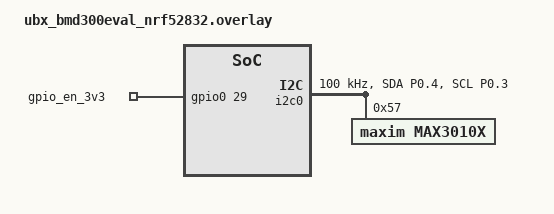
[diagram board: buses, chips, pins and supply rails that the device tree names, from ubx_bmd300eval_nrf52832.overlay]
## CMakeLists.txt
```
cmake_minimum_required(VERSION 3.20.0)

set(CMAKE_CXX_STANDARD 17)
set(CMAKE_CXX_STANDARD_REQUIRED ON)

set(CONFIG_LIB_CPLUSPLUS ON)
set(CONFIG_NEWLIB_LIBC ON)

find_package(Zephyr REQUIRED HINTS $ENV{ZEPHYR_BASE})
project(tegsense)

add_subdirectory(drivers/sensor/max3010x)

file(GLOB_RECURSE SRCS_CPP ${CMAKE_SOURCE_DIR}/src/*.cpp)
file(GLOB_RECURSE SRCS_C ${CMAKE_SOURCE_DIR}/src/*.c)
target_sources(app PRIVATE ${SRCS_CPP} ${SRCS_C})
target_include_directories(app PRIVATE
    ${CMAKE_SOURCE_DIR}/src
    ${CMAKE_SOURCE_DIR}/drivers/sensor/max3010x)

zephyr_library_include_directories(.)
```

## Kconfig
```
mainmenu "TEGSense v2"

source "Kconfig.zephyr"

config NUS_BUFFERING
	bool "Buffer outgoing NUS packets to improve throughput."
	default n
```

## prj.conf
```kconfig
CONFIG_DEBUG=n
# CONFIG_PRINTK=y
# CONFIG_ASSERT=y

CONFIG_SPEED_OPTIMIZATIONS=y
# CONFIG_DEBUG_OPTIMIZATIONS=y

# Debugging configuration
# CONFIG_THREAD_NAME=y
# CONFIG_THREAD_ANALYZER=y
# CONFIG_THREAD_ANALYZER_AUTO=y
# CONFIG_THREAD_ANALYZER_RUN_UNLOCKED=y
# CONFIG_THREAD_ANALYZER_USE_PRINTK=y

# add asserts
# CONFIG_ASSERT=y
# CONFIG_ASSERT_VERBOSE=y
# CONFIG_ASSERT_NO_COND_INFO=n
# CONFIG_ASSERT_NO_MSG_INFO=n
# CONFIG_RESET_ON_FATAL_ERROR=n

CONFIG_REBOOT=y
CONFIG_GPIO=y
CONFIG_I2C=y

CONFIG_SENSOR=y
# CONFIG_SENSOR_LOG_LEVEL_DBG=y

CONFIG_MAX3010x=y
CONFIG_MAX3010x_SPO2_MODE=y
CONFIG_MAX3010x_SMP_AVE=0
CONFIG_MAX3010x_SR=1
CONFIG_MAX3010x_PW=0
CONFIG_MAX3010x_FIFO_ROLLOVER_EN=y
CONFIG_MAX3010x_ADC_RGE=2
CONFIG_MAX3010x_LED1_PA=0x18
CONFIG_MAX3010x_LED2_PA=0x18

# Enable C++
CONFIG_CPP=y
CONFIG_NEWLIB_LIBC=y
CONFIG_NEWLIB_LIBC_FLOAT_PRINTF=y
CONFIG_CBPRINTF_FP_SUPPORT=y

CONFIG_CONSOLE=n
CONFIG_UART_CONSOLE=n

CONFIG_SERIAL=n

CONFIG_BT=y
# CONFIG_BT_DEBUG_LOG=y
CONFIG_BT_DEVICE_NAME="TEGSense"
CONFIG_BT_SMP=y
# CONFIG_BT_DEBUG_LOG=n
CONFIG_BT_PERIPHERAL=y
CONFIG_BT_MAX_CONN=2
CONFIG_BT_MAX_PAIRED=1

CONFIG_BT_L2CAP_TX_BUF_COUNT=10
# CONFIG_BT_L2CAP_TX_MTU=247
CONFIG_BT_L2CAP_TX_MTU=498
CONFIG_BT_BUF_ACL_TX_COUNT=10
CONFIG_BT_BUF_ACL_TX_SIZE=251

CONFIG_BT_CTLR_SDC_LLPM=n
CONFIG_BT_CTLR_PHY_2M=y
# CONFIG_BT_CTLR_RX_BUFFERS=10
CONFIG_BT_BUF_ACL_RX_SIZE=502
CONFIG_BT_CTLR_DATA_LENGTH_MAX=251

CONFIG_BT_RX_STACK_SIZE=1024

# Enable the NUS service
CONFIG_BT_NUS=y

# Enable bonding
CONFIG_BT_SETTINGS=y
CONFIG_FLASH=y
CONFIG_FLASH_PAGE_LAYOUT=y
CONFIG_FLASH_MAP=y
CONFIG_NVS=y
CONFIG_SETTINGS=y

CONFIG_BOARD_ENABLE_DCDC=y
CONFIG_CLOCK_CONTROL_NRF_K32SRC_XTAL=y
# CONFIG_CLOCK_CONTROL_NRF_K32SRC_20PPM=y
CONFIG_CLOCK_CONTROL_NRF_K32SRC_500PPM=y

CONFIG_LOG=y
CONFIG_LOG_BACKEND_RTT=y
CONFIG_LOG_BACKEND_UART=n

CONFIG_USE_SEGGER_RTT=y
CONFIG_PINCTRL=y
```

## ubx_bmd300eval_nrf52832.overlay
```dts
&pinctrl {
	i2c0_tegsense_default: i2c0_tegsense_default {
		group1 {
			psels = <NRF_PSEL(TWIM_SDA, 0, 4)>,
				<NRF_PSEL(TWIM_SCL, 0, 3)>;
		};
	};

	i2c0_tegsense_sleep: i2c0_tegsense_sleep {
		group1 {
			psels = <NRF_PSEL(TWIM_SDA, 0, 4)>,
				<NRF_PSEL(TWIM_SCL, 0, 3)>;
			low-power-enable;
		};
	};
};

/ {
    gpiopins {
        compatible = "gpio-leds";
        gpio_en_3v3: gpiopin_0 {
            gpios = <&gpio0 29 (GPIO_OPEN_SOURCE | GPIO_ACTIVE_HIGH)>;
        };
    };
};

&adc {
    status = "disabled";
};

&gpiote {
    status = "disabled";
};

&gpio0 {
    status = "okay";
};

arduino_serial: &uart0 {
    status = "disabled";
};

&i2c1 {
    status = "disabled";
};

&pwm0 {
    status = "disabled";
};

&spi0 {
    status = "disabled";
};

&spi1 {
	status = "disabled";
};

arduino_spi: &spi2 {
	status = "disabled";
};

arduino_i2c: &i2c0 {
	compatible = "nordic,nrf-twi";
	status = "okay";
    clock-frequency = <I2C_BITRATE_STANDARD>;
	pinctrl-0 = <&i2c0_tegsense_default>;
	pinctrl-1 = <&i2c0_tegsense_sleep>;
	pinctrl-names = "default", "sleep";

	max3010x@57 {
		status = "okay";
        compatible = "maxim,max3010x";
        reg = <0x57>;
        label = "MAX3010x";
	};
};
```

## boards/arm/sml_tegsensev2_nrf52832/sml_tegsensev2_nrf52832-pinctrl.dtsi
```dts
&pinctrl {
	uart0_default: uart0_default {
		group1 {
			psels = <NRF_PSEL(UART_TX, 0, 6)>,
				<NRF_PSEL(UART_RX, 0, 8)>,
				<NRF_PSEL(UART_RTS, 0, 5)>,
				<NRF_PSEL(UART_CTS, 0, 7)>;
		};
	};

	uart0_sleep: uart0_sleep {
		group1 {
			psels = <NRF_PSEL(UART_TX, 0, 6)>,
				<NRF_PSEL(UART_RX, 0, 8)>,
				<NRF_PSEL(UART_RTS, 0, 5)>,
				<NRF_PSEL(UART_CTS, 0, 7)>;
			low-power-enable;
		};
	};

	i2c0_default: i2c0_default {
		group1 {
			psels = <NRF_PSEL(TWIM_SDA, 0, 4)>,
				<NRF_PSEL(TWIM_SCL, 0, 3)>;
		};
	};

	i2c0_sleep: i2c0_sleep {
		group1 {
			psels = <NRF_PSEL(TWIM_SDA, 0, 4)>,
				<NRF_PSEL(TWIM_SCL, 0, 3)>;
			low-power-enable;
		};
	};

	i2c1_default: i2c1_default {
		group1 {
			psels = <NRF_PSEL(TWIM_SDA, 0, 30)>,
				<NRF_PSEL(TWIM_SCL, 0, 31)>;
		};
	};

	i2c1_sleep: i2c1_sleep {
		group1 {
			psels = <NRF_PSEL(TWIM_SDA, 0, 30)>,
				<NRF_PSEL(TWIM_SCL, 0, 31)>;
			low-power-enable;
		};
	};

	pwm0_default: pwm0_default {
		group1 {
			psels = <NRF_PSEL(PWM_OUT0, 0, 17)>;
			nordic,invert;
		};
	};

	pwm0_sleep: pwm0_sleep {
		group1 {
			psels = <NRF_PSEL(PWM_OUT0, 0, 17)>;
			low-power-enable;
		};
	};

	spi0_default: spi0_default {
		group1 {
			psels = <NRF_PSEL(SPIM_SCK, 0, 27)>,
				<NRF_PSEL(SPIM_MOSI, 0, 26)>,
				<NRF_PSEL(SPIM_MISO, 0, 28)>;
		};
	};

	spi0_sleep: spi0_sleep {
		group1 {
			psels = <NRF_PSEL(SPIM_SCK, 0, 27)>,
				<NRF_PSEL(SPIM_MOSI, 0, 26)>,
				<NRF_PSEL(SPIM_MISO, 0, 28)>;
			low-power-enable;
		};
	};

	spi1_default: spi1_default {
		group1 {
			psels = <NRF_PSEL(SPIM_SCK, 0, 31)>,
				<NRF_PSEL(SPIM_MOSI, 0, 30)>,
				<NRF_PSEL(SPIM_MISO, 0, 29)>;
		};
	};

	spi1_sleep: spi1_sleep {
		group1 {
			psels = <NRF_PSEL(SPIM_SCK, 0, 31)>,
				<NRF_PSEL(SPIM_MOSI, 0, 30)>,
				<NRF_PSEL(SPIM_MISO, 0, 29)>;
			low-power-enable;
		};
	};

	spi2_default: spi2_default {
		group1 {
			psels = <NRF_PSEL(SPIM_SCK, 0, 25)>,
				<NRF_PSEL(SPIM_MOSI, 0, 23)>,
				<NRF_PSEL(SPIM_MISO, 0, 24)>;
		};
	};

	spi2_sleep: spi2_sleep {
		group1 {
			psels = <NRF_PSEL(SPIM_SCK, 0, 25)>,
				<NRF_PSEL(SPIM_MOSI, 0, 23)>,
				<NRF_PSEL(SPIM_MISO, 0, 24)>;
			low-power-enable;
		};
	};
};
```

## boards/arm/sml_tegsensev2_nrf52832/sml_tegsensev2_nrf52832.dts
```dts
/dts-v1/;
#include <nordic/nrf52832_qfaa.dtsi>
#include "sml_tegsensev2_nrf52832-pinctrl.dtsi"

/ {
	model = "SML TEGSense-v2 nRF52832";
	compatible = "sml,sml-tegsensev2-nrf52832";

	chosen {
		zephyr,console = &uart0;
		zephyr,shell-uart = &uart0;
		zephyr,uart-mcumgr = &uart0;
		zephyr,bt-mon-uart = &uart0;
		zephyr,bt-c2h-uart = &uart0;
		zephyr,sram = &sram0;
		zephyr,flash = &flash0;
		zephyr,code-partition = &slot0_partition;
	};

    gpiopins {
        compatible = "gpio-leds";
        gpio_en_3v3: gpiopin_0 {
            gpios = <&gpio0 29 (GPIO_PULL_DOWN | GPIO_ACTIVE_HIGH)>;
        };
    };
};

&adc {
	status = "okay";
};

&gpiote {
	status = "okay";
};

&gpio0 {
	status = "okay";
};

&uart0 {
	status = "okay";
	compatible = "nordic,nrf-uarte";
	current-speed = <115200>;
	pinctrl-0 = <&uart0_default>;
	pinctrl-1 = <&uart0_sleep>;
	pinctrl-names = "default", "sleep";
};

&i2c0 {
	compatible = "nordic,nrf-twi";
	status = "okay";
    clock-frequency = <I2C_BITRATE_FAST>;
	pinctrl-0 = <&i2c0_default>;
	pinctrl-1 = <&i2c0_sleep>;
	pinctrl-names = "default", "sleep";

	max3010x@57 {
		status = "okay";
        compatible = "maxim,max3010x";
        reg = <0x57>;
        label = "MAX3010x";
	};
};

&i2c1 {
	compatible = "nordic,nrf-twi";
	/* Cannot be used together with spi1. */
	/* status = "okay"; */
	pinctrl-0 = <&i2c1_default>;
	pinctrl-1 = <&i2c1_sleep>;
	pinctrl-names = "default", "sleep";
};

&pwm0 {
	status = "okay";
	pinctrl-0 = <&pwm0_default>;
	pinctrl-1 = <&pwm0_sleep>;
	pinctrl-names = "default", "sleep";
};

&spi0 {
	compatible = "nordic,nrf-spi";
	/* Cannot be used together with i2c0. */
	/* status = "okay"; */
	pinctrl-0 = <&spi0_default>;
	pinctrl-1 = <&spi0_sleep>;
	pinctrl-names = "default", "sleep";
};

&spi1 {
	compatible = "nordic,nrf-spi";
	status = "okay";
	pinctrl-0 = <&spi1_default>;
	pinctrl-1 = <&spi1_sleep>;
	pinctrl-names = "default", "sleep";
};

&flash0 {

	partitions {
		compatible = "fixed-partitions";
		#address-cells = <1>;
		#size-cells = <1>;

		boot_partition: partition@0 {
			label = "mcuboot";
			reg = <0x00000000 0xc000>;
		};
		slot0_partition: partition@c000 {
			label = "image-0";
			reg = <0x0000C000 0x32000>;
		};
		slot1_partition: partition@3e000 {
			label = "image-1";
			reg = <0x0003E000 0x32000>;
		};
		scratch_partition: partition@70000 {
			label = "image-scratch";
			reg = <0x00070000 0xa000>;
		};
		storage_partition: partition@7a000 {
			label = "storage";
			reg = <0x0007a000 0x00006000>;
		};
	};
};
```

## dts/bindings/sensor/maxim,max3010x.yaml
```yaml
description: MAX3010x heart rate sensor

compatible: "maxim,max3010x"

include: i2c-device.yaml
```

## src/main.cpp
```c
#include <zephyr/kernel.h>
#include <zephyr/logging/log.h>
#include <zephyr/logging/log_ctrl.h>
#include <zephyr/pm/pm.h>
#include <zephyr/sys/reboot.h>

#include "ble.hpp"
#include "command.hpp"
#include "flash.hpp"
#include "ppg.hpp"

LOG_MODULE_REGISTER(main);

static uint16_t packet_id = 0;

static uint8_t next_cfg = 0;
static uint8_t next_fifo_cfg = 0;
static uint8_t next_cp_cfg = 0;
static uint8_t next_ir_pa = 0;
static uint8_t next_red_pa = 0;

const uint16_t MaxSamples = 50;
struct ppg_buffer {
        const uint32_t syncword = 0xdeadbeef;
        uint32_t time = 0;
        uint16_t packet_id = 0;
        uint8_t cfg = next_cfg;
        uint8_t fifo_cfg = next_fifo_cfg;
        uint8_t cp_cfg = next_cp_cfg;
        uint8_t red_pa = next_red_pa;
        uint8_t ir_pa = next_ir_pa;
        uint16_t sample_i = 0;
        uint32_t red[MaxSamples];
        uint32_t ir[MaxSamples];
};

const uint16_t MaxBuffers = 20;
static ppg_buffer buf[MaxBuffers];
static uint16_t write_buf = 0;
static uint16_t read_buf = 0;

static uint32_t collection_cutoff_ms = 0;
static bool collecting = true;

ppg_buffer& get_write_buffer() {
    return buf[write_buf];
}

bool write_buffer_full() {
    auto& buffer = get_write_buffer();
    return buffer.sample_i == MaxSamples;
}

bool read_buffer_ready() {
    return read_buf != write_buf;
}

ppg_buffer& get_read_buffer() {
    return buf[read_buf];
}

void inc_write_buffer() {
    LOG_DBG(
        "Moving WRITE from buffer %d to %d", write_buf,
        (write_buf + 1) % MaxBuffers);
    write_buf = (write_buf + 1) % MaxBuffers;

    auto& buffer = get_write_buffer();
    buffer.packet_id = ++packet_id;
    buffer.time = k_cyc_to_ms_floor32(sys_clock_tick_get());
    buffer.sample_i = 0;

    buffer.cfg = next_cfg;
    buffer.fifo_cfg = next_fifo_cfg;
    buffer.cp_cfg = next_cp_cfg;
    buffer.ir_pa = next_ir_pa;
    buffer.red_pa = next_red_pa;
}

void inc_read_buffer() {
    LOG_DBG(
        "Moving READ from buffer %d to %d", read_buf,
        (read_buf + 1) % MaxBuffers);
    read_buf = (read_buf + 1) % MaxBuffers;
}

void process_cb(const uint8_t cmd, const uint8_t data) {
    switch (cmd) {
        case NoOp:
            break;
        case ADCRange:
            ppg.setADCRange(data);
            break;
        case SampleRate:
            ppg.setSampleRate(data);
            break;
        case PulseWidth:
            ppg.setPulseWidth(data);
            break;
        case SampleAvg:
            ppg.setFIFOAverage(data);
            break;
        case IRLEDPA:
            ppg.setPulseAmplitudeIR(data);
            break;
        case RedLEDPA:
            ppg.setPulseAmplitudeRed(data);
            break;
        case Reboot:
            LOG_WRN("System reboot was triggered.");
            LOG_INF("Storing PPG configuration parameters...");
            ppg_config.adc_range = next_cfg & ~0x9F;
            ppg_config.sample_rate = next_cfg & ~0xE3;
            ppg_config.pulse_width = next_cfg & ~0xFC;
            ppg_config.sample_avg = next_fifo_cfg & 0xE0;
            ppg_config.ir_led_pa = next_ir_pa;
            ppg_config.red_led_pa = next_red_pa;
            if (!ppg_write_config())
                LOG_ERR("Failed to write PPG configuration to flash.");

            LOG_INF("Flushing log buffer then rebooting in 1 second...");
            // Flush the log buffer before rebooting.
            if (IS_ENABLED(CONFIG_LOG_MODE_DEFERRED))
                while (log_process())
                    ;
            k_sleep(K_MSEC(1000));

            sys_reboot(SYS_REBOOT_COLD);
            break;
        case CollectionMode:
            ppg_config.collection_mode = data;
            next_cp_cfg = data;
            LOG_INF("Setting collection mode: %d (0x%02x)", data, data);
            LOG_INF(
                "  -> Collection period: %d ms", ppg_collection_period_ms());
            LOG_INF("  -> Startup timeout: %d ms", ppg_startup_timeout_ms());
            LOG_INF("Will only take effect after reboot.");
            break;
        default:
            break;
    }
}

void collect_data() {
    if (!collecting)
        return;
    else if (k_cyc_to_ms_floor32(sys_clock_tick_get()) > collection_cutoff_ms) {
        LOG_INF(
            "Collection period has expired, going to sleep after transmitting "
            "data...");
        collecting = false;
        ppg_sleep();
        return;
    }

    auto& buffer = get_write_buffer();
    buffer.sample_i =
        ppg_read_samples(buffer.red, buffer.ir, buffer.sample_i, MaxSamples);
}

void process_messages() {
    // While collecting data, only process during buffer transitions since
    // we don't want to change the sensor configuration in the middle of
    // a buffer.
    if (collecting && !write_buffer_full())
        return;
    if (process_commands(process_cb) > 0) {
        // Update PPG configuration parameters for telemetry.
        next_cfg = ppg.getParticleConfig();
        next_fifo_cfg = ppg.getFIFOConfig();
        next_ir_pa = ppg.getPAIR();
        next_red_pa = ppg.getPARed();

        // Clear FIFO.
        ppg.clearFIFO();
    }
}

void telemeter_data() {
    if (read_buffer_ready() && ble_await_connection(10)) {
        auto& buffer = get_read_buffer();
        uint16_t size = sizeof(ppg_buffer);
        LOG_DBG(
            "Sending %d bytes of packet id %d (read buffer %d)...", size,
            buffer.packet_id, read_buf);
        ble_send(reinterpret_cast<const uint8_t*>(&buffer), size, true);
        inc_read_buffer();
    }
}

int main() {
    if (!flash_init()) {
        LOG_ERR("Failed to initialize flash, going to reboot...");
        // Flush the log buffer before rebooting.
        if (IS_ENABLED(CONFIG_LOG_MODE_DEFERRED))
            while (log_process())
                ;
        k_sleep(K_MSEC(1000));

        sys_reboot(SYS_REBOOT_COLD);

        return 1;
    }
    if (!ppg_configure()) {
        LOG_ERR("Failed to configure PPG, going to reboot...");
        // Flush the log buffer before rebooting.
        if (IS_ENABLED(CONFIG_LOG_MODE_DEFERRED))
            while (log_process())
                ;
        k_sleep(K_MSEC(1000));

        sys_reboot(SYS_REBOOT_COLD);

        return 1;
    }
    if (!ble_configure()) {
        LOG_ERR("Failed to configure BLE, going to reboot...");
        // Flush the log buffer before rebooting.
        if (IS_ENABLED(CONFIG_LOG_MODE_DEFERRED))
            while (log_process())
                ;
        k_sleep(K_MSEC(1000));

        sys_reboot(SYS_REBOOT_COLD);

        return 1;
    }

    // Store PPG configuration parameters.
    next_cfg = ppg.getParticleConfig();
    next_fifo_cfg = ppg.getFIFOConfig();
    next_ir_pa = ppg.getPAIR();
    next_red_pa = ppg.getPARed();

    // And collection mode.
    next_cp_cfg = ppg_config.collection_mode;

    // Check for a startup timeout.
    uint16_t startup_timeout = ppg_startup_timeout_ms();
    if (startup_timeout > 0) {
        LOG_INF("Sleeping for %d ms to allow for charging...", startup_timeout);
        k_sleep(K_MSEC(startup_timeout));
    } else {
        LOG_INF("Startup timeout is disabled, continuing immediately.");
    }

    // Setup the collection cutoff time.
    uint16_t collection_period = ppg_collection_period_ms();
    if (collection_period > 0) {
        collection_cutoff_ms =
            k_cyc_to_ms_floor32(sys_clock_tick_get()) + collection_period;
        LOG_INF(
            "Collection period is %d ms, will stop collecting at %d ms.",
            collection_period, collection_cutoff_ms);
    } else {
        LOG_INF("Collection period is disabled, will collect indefinitely.");
        collection_cutoff_ms = 0xFFFFFFFF;
    }

    // Wakeup BLE and PPG.
    ble_wakeup();
    ppg_wakeup();

    // Initialize first buffer.
    auto& buffer = get_write_buffer();
    buffer.time = k_cyc_to_ms_floor32(sys_clock_tick_get());
    buffer.cfg = next_cfg;
    buffer.fifo_cfg = next_fifo_cfg;
    buffer.cp_cfg = next_cp_cfg;
    buffer.ir_pa = next_ir_pa;
    buffer.red_pa = next_red_pa;

    // Forever.
    static uint32_t delay_ms = 10;
    // int iterations = 0;
    while (true) {
        k_sleep(K_MSEC(delay_ms));
        collect_data();
        process_messages();
        if (write_buffer_full())
            inc_write_buffer();
        telemeter_data();

        // When we stop collecting data, we can increase the loop delay.
        if (!collecting && !read_buffer_ready() && delay_ms < 500) {
            LOG_INF("No more data to send, increasing loop delay.");
            delay_ms = 500;
        }

        // Chirp to keep the BLE link alive.
        if (delay_ms > 10) {
            static const char* data = "idle";
            ble_send(reinterpret_cast<const uint8_t*>(data), 4);
        }
    }

    // At this point we'll just look for commands, maybe a reboot.
    int iterations = 0;
    while (true) {
        k_sleep(K_MSEC(delay_ms));
        if (iterations++ % (1000 / delay_ms) == 0) {
            static const char* data = "idle";
            ble_send(reinterpret_cast<const uint8_t*>(data), 4);
        }
        if (process_commands(process_cb) > 0) {
            // Update PPG configuration parameters for telemetry.
            next_cfg = ppg.getParticleConfig();
            next_fifo_cfg = ppg.getFIFOConfig();
            next_ir_pa = ppg.getPAIR();
            next_red_pa = ppg.getPARed();

            // Clear FIFO.
            ppg.clearFIFO();
        }
        k_sleep(K_MSEC(delay_ms));
    }

    return 0;
}
```

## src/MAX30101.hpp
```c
/*
    This is a modification of the SparkFun MAX3010x Pulse and Proximity Sensor
   Library to run on Zephyr, with some minor additions.
    https://github.com/sparkfun/SparkFun_MAX3010x_Sensor_Library

    Modified by Anthony Wertz, 2023.
*/

/***************************************************
 This is a library written for the Maxim MAX30105 Optical Smoke Detector
 It should also work with the MAX30102. However, the MAX30102 does not have a
 Green LED.

 These sensors use I2C to communicate, as well as a single (optional)
 interrupt line that is not currently supported in this driver.

 Written by Peter Jansen and Nathan Seidle (SparkFun)
 BSD license, all text above must be included in any redistribution.
 *****************************************************/

#pragma once

#include <stdint.h>
#include <zephyr/device.h>

class MAX30101 {
    public:
        MAX30101();

        bool begin(const struct device* dev);

        uint32_t getRed(void);    // Returns immediate red value
        uint32_t getIR(void);     // Returns immediate IR value
        uint32_t getGreen(void);  // Returns immediate green value
        bool safeCheck(uint8_t maxTimeToCheck);  // Given a max amount of time,
                                                 // check for new data

        // Configuration
        void softReset();
        void shutDown();
        void wakeUp();

        void setLEDMode(uint8_t mode);

        void setADCRange(uint8_t adcRange);
        void setSampleRate(uint8_t sampleRate);
        void setPulseWidth(uint8_t pulseWidth);

        void setPulseAmplitudeRed(uint8_t value);
        void setPulseAmplitudeIR(uint8_t value);
        void setPulseAmplitudeGreen(uint8_t value);
        void setPulseAmplitudeProximity(uint8_t value);

        void setProximityThreshold(uint8_t threshMSB);

        // Multi-led configuration mode (page 22)
        void enableSlot(
            uint8_t slotNumber,
            uint8_t device);  // Given slot number, assign a device to slot
        void disableSlots(void);

        // Data Collection

        // Interrupts (page 13, 14)
        uint8_t getINT1(void);   // Returns the main interrupt group
        uint8_t getINT2(void);   // Returns the temp ready interrupt
        void enableAFULL(void);  // Enable/disable individual interrupts
        void disableAFULL(void);
        void enableDATARDY(void);
        void disableDATARDY(void);
        void enableALCOVF(void);
        void disableALCOVF(void);
        void enablePROXINT(void);
        void disablePROXINT(void);
        void enableDIETEMPRDY(void);
        void disableDIETEMPRDY(void);

        // FIFO Configuration (page 18)
        void setFIFOAverage(uint8_t samples);
        void enableFIFORollover();
        void disableFIFORollover();
        void setFIFOAlmostFull(uint8_t samples);

        // FIFO Reading
        uint16_t check(void);     // Checks for new data and fills FIFO
        uint8_t available(void);  // Tells caller how many new samples are
                                  // available (head - tail)
        void nextSample(void);    // Advances the tail of the sense array
        uint32_t getFIFORed(
            void);                 // Returns the FIFO sample pointed to by tail
        uint32_t getFIFOIR(void);  // Returns the FIFO sample pointed to by tail
        uint32_t getFIFOGreen(
            void);  // Returns the FIFO sample pointed to by tail

        uint8_t getWritePointer(void);
        uint8_t getReadPointer(void);
        void clearFIFO(void);  // Sets the read/write pointers to zero

        // Proximity Mode Interrupt Threshold
        void setPROXINTTHRESH(uint8_t val);

        // Die Temperature
        float readTemperature();
        float readTemperatureF();

        // Detecting ID/Revision
        uint8_t getRevisionID();
        uint8_t readPartID();

        // Setup the IC with user selectable settings
        void setup(
            uint8_t powerLevel = 0x1F,
            uint8_t sampleAverage = 4,
            uint8_t ledMode = 3,
            int sampleRate = 400,
            int pulseWidth = 411,
            int adcRange = 4096);
        void setupSpO2(
            uint8_t ir_power,
            uint8_t red_power,
            uint8_t sampleAverage,
            uint8_t sampleRate,
            uint8_t pulseWidth,
            uint8_t adcRange);

        // Get configuration registers.
        uint8_t getFIFOConfig();
        uint8_t getParticleConfig();

        uint8_t getPARed();
        uint8_t getPAIR();
        uint8_t getPAGreen();

        // Low-level I2C communication
        uint8_t readRegister8(uint8_t reg);
        void writeRegister8(uint8_t reg, uint8_t value);

        uint8_t burstRead(uint8_t reg, uint16_t size);
        uint8_t burstRead_next();

    private:
        const struct device* dev = nullptr;

        static const uint16_t I2C_BUFFER_LENGTH = 288;
        uint8_t burst_read_buffer[I2C_BUFFER_LENGTH];
        uint16_t burst_read_buffer_i = 0;
        uint16_t burst_read_buffer_used = 0;

        // activeLEDs is the number of channels turned on, and can be 1 to 3. 2
        // is common for Red+IR.
        uint8_t activeLEDs;  // Gets set during setup. Allows check() to
                             // calculate how many bytes to read from FIFO

        uint8_t revisionID;

        void readRevisionID();

        void bitMask(uint8_t reg, uint8_t mask, uint8_t thing);

        static const int STORAGE_SIZE = 32;
        typedef struct Record {
                uint32_t red[STORAGE_SIZE];
                uint32_t IR[STORAGE_SIZE];
                uint32_t green[STORAGE_SIZE];
                uint8_t head;
                uint8_t tail;
        } sense_struct;  // This is our circular buffer of readings from the
                         // sensor

        sense_struct sense;
};
```

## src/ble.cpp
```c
#include "ble.hpp"

#include <bluetooth/services/nus.h>
#include <zephyr/bluetooth/bluetooth.h>
#include <zephyr/bluetooth/conn.h>
#include <zephyr/bluetooth/hci.h>

#include <zephyr/logging/log.h>
#include <zephyr/settings/settings.h>

#include "command.hpp"

LOG_MODULE_REGISTER(ble);

#define DEVICE_NAME CONFIG_BT_DEVICE_NAME
#define DEVICE_NAME_LEN (sizeof(DEVICE_NAME) - 1)

static struct bt_data ad[2] = {
    BT_DATA_BYTES(BT_DATA_FLAGS, (BT_LE_AD_GENERAL | BT_LE_AD_NO_BREDR)),
    BT_DATA(BT_DATA_NAME_COMPLETE, DEVICE_NAME, DEVICE_NAME_LEN),
};

static const struct bt_data sd[] = {
    BT_DATA_BYTES(BT_DATA_UUID128_ALL, BT_UUID_NUS_VAL),
};

static bool ble_initialized = false;
static struct bt_conn* connection = NULL;

static const uint16_t nus_buffer_size = 244;
static uint8_t nus_buffer[nus_buffer_size];
static uint16_t used = 0;

static uint32_t connection_time = 0;

K_SEM_DEFINE(ble_connection_semaphore, 0, 1);

static void connected(struct bt_conn* conn, uint8_t conn_err) {
    char addr[BT_ADDR_LE_STR_LEN];

    LOG_INF("BLE::connected");

    bt_addr_le_to_str(bt_conn_get_dst(conn), addr, sizeof(addr));
    if (conn_err) {
        LOG_INF(
            "Failed to connect to %s (%d - %s)", addr, conn_err,
            strerror(conn_err));

        return;
    }

    LOG_INF("Connected to %s", addr);
    if ((connection != NULL) && (connection != conn)) {
        LOG_WRN("  -> Previous connection will be released.");
        bt_conn_disconnect(connection, BT_HCI_ERR_REMOTE_USER_TERM_CONN);
        bt_conn_unref(connection);
    }
    connection = bt_conn_ref(conn);

    connection_time = k_cyc_to_ms_floor32(sys_clock_tick_get());
    LOG_INF("Connected at %d", connection_time);
    k_sem_give(&ble_connection_semaphore);
}

static void disconnected(struct bt_conn* conn, uint8_t reason) {
    char addr[BT_ADDR_LE_STR_LEN];

    LOG_INF("BLE::disconnected");
    bt_addr_le_to_str(bt_conn_get_dst(conn), addr, sizeof(addr));

    // Determine which slot is being disconnected.
    if (conn == connection) {
        // err can mean either of the following:
        // - BT_HCI_ERR_UNKNOWN_CONN_ID
        // Creating the connection started by bt_conn_le_create
        // canceled either by the user through bt_conn_disconnect
        // or by the timeout in the host through bt_conn_le_create_param
        // timeout parameter, which defaults to
        // @kconfig{CONFIG_BT_CREATE_CONN_TIMEOUT} seconds.
        // - BT_HCI_ERR_ADV_TIMEOUT
        // High duty cycle directed connectable advertiser started by
        // bt_le_adv_start failed to be connected within the timeout.
        const char* reason_str = "Unknown";
        switch (reason) {
            case BT_HCI_ERR_UNKNOWN_CONN_ID:
                reason_str = "Unknown connection ID";
                break;
            case BT_HCI_ERR_CONN_FAIL_TO_ESTAB:
                reason_str = "Connection failed to establish";
                break;
            case BT_HCI_ERR_ADV_TIMEOUT:
                reason_str = "Advertising timeout";
                break;
            case BT_HCI_ERR_CONN_TIMEOUT:
                reason_str = "Connection timeout";
                break;
        }
        LOG_WRN(
            "Disconnected from %s (reason: %x - %s)", addr, reason, reason_str);
        bt_conn_unref(connection);
        connection = NULL;

        k_sem_reset(&ble_connection_semaphore);
    }
}

static bool le_param_req(struct bt_conn* conn, struct bt_le_conn_param* param) {
    LOG_INF("Connection parameters update request received.");
    LOG_INF(
        "  - Connection interval: [%d, %d]", param->interval_min,
        param->interval_max);
    LOG_INF("  - Latency: %d", param->latency);
    LOG_INF("  - Timeout: %d", param->timeout);

    return true;
}

static void le_param_updated(
    struct bt_conn* conn,
    uint16_t interval,
    uint16_t latency,
    uint16_t timeout) {
    LOG_INF("Connection parameters updated:");
    LOG_INF(
        "  - Interval: %d; Latency: %d; Timeout: %d", interval, latency,
        timeout);
}

BT_CONN_CB_DEFINE(conn_callbacks) = {
    .connected = connected,
    .disconnected = disconnected,
    .le_param_req = le_param_req,
    .le_param_updated = le_param_updated,
};

static void auth_cancel(struct bt_conn* conn) {
    char addr[BT_ADDR_LE_STR_LEN];

    LOG_INF("BLE::auth_cancel");
    bt_addr_le_to_str(bt_conn_get_dst(conn), addr, sizeof(addr));

    LOG_INF("Pairing cancelled: %s", addr);
}

static void pairing_complete(struct bt_conn* conn, bool bonded) {
    char addr[BT_ADDR_LE_STR_LEN];

    LOG_INF("BLE::pairing_complete");
    bt_addr_le_to_str(bt_conn_get_dst(conn), addr, sizeof(addr));

    LOG_INF("Pairing completed: %s, bonded: %d", addr, bonded);
}

static void pairing_failed(struct bt_conn* conn, enum bt_security_err reason) {
    char addr[BT_ADDR_LE_STR_LEN];

    LOG_INF("BLE::pairing_failed");
    bt_addr_le_to_str(bt_conn_get_dst(conn), addr, sizeof(addr));

    LOG_WRN("Pairing failed conn: %s, reason %d", addr, reason);
}

static void nus_received(
    struct bt_conn* conn, const uint8_t* const data, uint16_t len) {
    // We assume only a single command per packet.
    if (len != CommandSize) {
        LOG_WRN("Received invalid command size: %d", len);
        return;
    }

    LOG_INF(
        "Received command: %d (0x%02X) - %d (0x%02X)", data[0], data[0],
        data[1], data[1]);

    // And we'll just push it right through. When commands are processed, only
    // the most recent value for each is taken, so it doesn't matter how many
    // are received.
    if (!push_command(data))
        LOG_WRN("Failed to push command.");
}

static struct bt_conn_auth_cb conn_auth_callbacks = {
    .cancel = auth_cancel,
};

static struct bt_conn_auth_info_cb conn_auth_info_callbacks = {
    .pairing_complete = pairing_complete, .pairing_failed = pairing_failed};

static struct bt_nus_cb nus_cb = {.received = nus_received};

int init_nus() {
    int err = 0;

    LOG_INF("Initializing BLE and NUS...");

    err = bt_conn_auth_cb_register(&conn_auth_callbacks);
    if (err) {
        LOG_ERR(
            "Failed to register authorization callbacks. %d - %s", err,
            strerror(err));
        return err;
    }

    err = bt_conn_auth_info_cb_register(&conn_auth_info_callbacks);
    if (err) {
        LOG_ERR(
            "Failed to register authorization info callbacks. %d - %s", err,
            strerror(err));
        return err;
    }

    err = bt_nus_init(&nus_cb);
    if (err) {
        LOG_ERR(
            "Failed to initialize NUS callbacks. %d - %s", err, strerror(err));
        return err;
    }

    err = bt_enable(NULL);
    if (err) {
        LOG_ERR("Error bt_enable: %d - %s", err, strerror(err));
        return err;
    }

    LOG_INF("Bluetooth initialized");

    if (IS_ENABLED(CONFIG_SETTINGS)) {
        settings_load();
    }

    return 0;
}

bool ble_configure() {
    LOG_INF("BLE Configure...");
    int err = init_nus();
    ble_initialized = !err;
    return ble_initialized;
}

void ble_sleep() {
    LOG_INF("Sleeping BLE... Stopping advertising and closing connections...");
    bt_le_adv_stop();
    k_sem_reset(&ble_connection_semaphore);
    if (connection != NULL) {
        bt_conn_disconnect(connection, BT_HCI_ERR_REMOTE_USER_TERM_CONN);
        bt_conn_unref(connection);
        connection = NULL;
    }

    // Reset NUS buffer.
    used = 0;
}

void ble_wakeup() {
    LOG_INF("Waking BLE... Starting advertising...");
    const auto& params = BT_LE_ADV_CONN;
    int err = bt_le_adv_start(params, ad, ARRAY_SIZE(ad), sd, ARRAY_SIZE(sd));
    if (err) {
        LOG_ERR("Advertising failed to start (err %d)", err);
    }

    // Reset NUS buffer.
    used = 0;
}

bool ble_await_connection(const uint32_t timeout_ms) {
    if (k_sem_count_get(&ble_connection_semaphore) > 0) {
        const uint32_t now = k_cyc_to_ms_floor32(sys_clock_tick_get());
        return (now - connection_time) > 500;
    }
    return false;
    // return k_sem_take(&ble_connection_semaphore, K_FOREVER) == 0;
}

uint16_t add_to_nus_buffer(
    const uint8_t* src_buffer,
    const uint16_t src_size,
    const uint16_t src_remaining) {
    uint16_t free = nus_buffer_size - used;
    uint16_t to_write = free < src_remaining ? free : src_remaining;
    uint16_t src_remaining_after_write = src_remaining - to_write;

    uint16_t src_si = src_size - src_remaining;
    for (uint16_t di = 0; di < to_write; ++di)
        nus_buffer[used + di] = src_buffer[src_si + di];

    used += to_write;
    return src_remaining_after_write;
}

bool nus_buffer_full() {
    return used == nus_buffer_size;
}

void transmit_nus_buffer() {
    if (connection == NULL)
        return;
    bt_nus_send(connection, nus_buffer, used);
    used = 0;
}

uint16_t ble_send(
    const uint8_t* src_buffer, const uint16_t src_size, const bool immediate) {
    if (IS_ENABLED(CONFIG_NUS_BUFFERING)) {
        uint16_t remaining = src_size;
        while (remaining > 0) {
            remaining = add_to_nus_buffer(src_buffer, src_size, remaining);
            if (immediate || nus_buffer_full())
                transmit_nus_buffer();
        }
    } else {
        bt_nus_send(connection, src_buffer, src_size);
    }
    return src_size;
}
```

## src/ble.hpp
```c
#pragma once

#include <stdint.h>

bool ble_configure();
void ble_sleep();
void ble_wakeup();
bool ble_await_connection(const uint32_t timeout_ms);
uint16_t ble_send(
    const uint8_t* src_buffer,
    const uint16_t src_size,
    const bool immediate = false);
```

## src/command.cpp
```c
#include "command.hpp"

#include <zephyr/kernel.h>
#include <zephyr/logging/log.h>

LOG_MODULE_REGISTER(command);

K_MUTEX_DEFINE(command_mutex);

uint8_t commands;
uint8_t values[8];

static const char* CommandNames[] = {
    "ADCRange", "SampleRate", "PulseWidth", "SampleAvg",
    "IRLEDPA",  "RedLEDPA",   "Reboot",     "CollectionMode",
};

// Decode a command.
bool decode(const uint8_t bytes[CommandSize], Command& cmd) {
    cmd = {.command = bytes[0], .data = bytes[1]};

    switch (cmd.command) {
        case NoOp:
        case ADCRange:
        case SampleRate:
        case PulseWidth:
        case SampleAvg:
        case IRLEDPA:
        case RedLEDPA:
        case Reboot:
        case CollectionMode:
            break;
        default:
            return false;
    }

    return true;
}

bool push_command(const Command& cmd) {
    if (k_mutex_lock(&command_mutex, K_MSEC(10))) {
        LOG_ERR("Failed to lock command mutex.");
        return false;
    }

    commands |= cmd.command;

    // Set the command data.
    for (uint8_t i = 0; i < 8; ++i) {
        uint8_t test_cmd = (1 << i);
        if (test_cmd == cmd.command) {
            values[i] = cmd.data;
            break;
        }
    }

    k_mutex_unlock(&command_mutex);

    return true;
}

bool push_command(const uint8_t bytes[CommandSize]) {
    Command cmd;
    if (!decode(bytes, cmd)) {
        LOG_ERR("Failed to decode command.");
        return false;
    }

    return push_command(cmd);
}

int process_commands(CommandCallback cb) {
    if (k_mutex_lock(&command_mutex, K_MSEC(10))) {
        LOG_ERR("Failed to lock command mutex.");
        return 0;
    }

    // Make a copy of the commands and values so we don't need to hold the
    // mutex.
    const uint8_t cmds = commands;
    uint8_t vals[8];
    for (uint8_t i = 0; i < 8; ++i) {
        vals[i] = values[i];
    }

    // And clear the command flags.
    commands = 0;

    k_mutex_unlock(&command_mutex);

    // Call the callback for all active commands.
    int commands_processed = 0;
    for (uint8_t i = 0; i < 8; ++i) {
        uint8_t cmd = (1 << i);
        if (cmds & cmd) {
            ++commands_processed;
            LOG_INF(
                "CMD %s (%02X) -> %d (%02X).", CommandNames[i], cmd, vals[i],
                vals[i]);
            cb(cmd, vals[i]);
        }
    }

    return commands_processed;
}
```

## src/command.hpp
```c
#pragma once

#include <stdint.h>

// Command codes.
constexpr uint8_t NoOp = 0x00;
constexpr uint8_t ADCRange = 0x01;
constexpr uint8_t SampleRate = 0x02;
constexpr uint8_t PulseWidth = 0x04;
constexpr uint8_t SampleAvg = 0x08;
constexpr uint8_t IRLEDPA = 0x10;
constexpr uint8_t RedLEDPA = 0x20;
constexpr uint8_t Reboot = 0x40;
constexpr uint8_t CollectionMode = 0x80;

// CollectionMode modes.
constexpr uint8_t CollectionMode_CollectionPeriod_Mask = 0x0F;
constexpr uint16_t CollectionMode_CollectionPeriod_Scale = 500;

constexpr uint8_t CollectionMode_StartupTimeout_Mask = 0xF0;
constexpr uint16_t CollectionMode_StartupTimeout_Scale = 10;

constexpr uint16_t CommandSize = 2;

struct Command {
    public:
        uint8_t command;
        uint8_t data;
};

extern uint8_t commands;
extern uint8_t values[8];

// Decode a command.
bool decode_command(const uint8_t bytes[CommandSize], Command& cmd);
bool push_command(const Command& cmd);
bool push_command(const uint8_t bytes[CommandSize]);

typedef void (*CommandCallback)(const uint8_t cmd, const uint8_t data);
int process_commands(CommandCallback cb);
```

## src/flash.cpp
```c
#include "flash.hpp"

#include <zephyr/drivers/flash.h>
#include <zephyr/fs/nvs.h>
#include <zephyr/storage/flash_map.h>

#include <zephyr/logging/log.h>

#define LOG_MODULE_NAME flash
LOG_MODULE_REGISTER(LOG_MODULE_NAME);

#define NVS_PARTITION storage_partition
#define NVS_PARTITION_DEVICE FIXED_PARTITION_DEVICE(NVS_PARTITION)
#define NVS_PARTITION_OFFSET FIXED_PARTITION_OFFSET(NVS_PARTITION)

static struct nvs_fs fs;

bool flash_init() {
    int rc;
    struct flash_pages_info info;

    // Initialize flash.
    fs.flash_device = NVS_PARTITION_DEVICE;
    if (!device_is_ready(fs.flash_device)) {
        LOG_ERR("Flash device %s is not ready", fs.flash_device->name);
        return false;
    }
    fs.offset = NVS_PARTITION_OFFSET;
    rc = flash_get_page_info_by_offs(fs.flash_device, fs.offset, &info);
    if (rc) {
        LOG_ERR("Unable to get page info");
        return false;
    }
    fs.sector_size = info.size;
    fs.sector_count = 3U;

    rc = nvs_mount(&fs);
    if (rc) {
        LOG_ERR("Flash Init failed (%d)", rc);
        return false;
    }

    return true;
}

bool flash_write(const int id, const char* const name, const uint8_t value) {
    int rc = nvs_write(&fs, id, &value, 1);
    // Will return zero bytes written if the value is unchanged.
    if (rc >= 0)
        LOG_INF("-> set config[%s] = %d (0x%02x)", name, value, value);
    else
        LOG_ERR("-> set config[%s]: Failed to write!!", name);
    return rc >= 0;
}

bool flash_read(
    const int id,
    const char* const name,
    uint8_t& value,
    const uint8_t default_value) {
    int rc = nvs_read(&fs, id, &value, 1);
    if (rc > 0)
        LOG_INF("config[%s]: %d (0x%02x)", name, value, value);
    else {
        LOG_ERR("config[%s]: Not found!!", name);
        value = default_value;
        flash_write(id, name, value);
    }
    return rc > 0;
}
```

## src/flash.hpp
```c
#pragma once

#include <stdint.h>

bool flash_init();
bool flash_write(const int id, const char* const name, const uint8_t value);
bool flash_read(
    const int id,
    const char* const name,
    uint8_t& value,
    const uint8_t default_value);
```

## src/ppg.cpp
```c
#include "ppg.hpp"

#include <zephyr/drivers/gpio.h>
#include <zephyr/drivers/sensor.h>
#include <zephyr/logging/log.h>

#include "MAX30101.hpp"
#include "command.hpp"
#include "flash.hpp"
#include "max3010x.h"

LOG_MODULE_REGISTER(ppg);

static const struct device* dev = NULL;
static struct gpio_dt_spec en_3v3;

MAX30101 ppg = MAX30101();
PPGConfig ppg_config;

bool ppg_read_config() {
    // Read configuration from flash.
    LOG_INF("Reading configuration from flash...");
    uint8_t value;
    if (!flash_read(0, "adc_range", value, 0x20))
        return false;
    ppg_config.adc_range = value;
    if (!flash_read(1, "sample_rate", value, 0x04))
        return false;
    ppg_config.sample_rate = value;
    if (!flash_read(2, "pulse_width", value, 0x02))
        return false;
    ppg_config.pulse_width = value;
    if (!flash_read(3, "sample_avg", value, 0x00))
        return false;
    ppg_config.sample_avg = value;
    if (!flash_read(4, "ir_led_pa", value, 0x1F))
        return false;
    ppg_config.ir_led_pa = value;
    if (!flash_read(5, "red_led_pa", value, 0x1F))
        return false;
    ppg_config.red_led_pa = value;
    if (!flash_read(6, "collection_mode", value, 0x00))
        return false;
    ppg_config.collection_mode = value;

    return true;
}

bool ppg_write_config() {
    // Write configuration to flash.
    LOG_INF("Writing configuration to flash...");
    if (!flash_write(0, "adc_range", ppg_config.adc_range))
        return false;
    if (!flash_write(1, "sample_rate", ppg_config.sample_rate))
        return false;
    if (!flash_write(2, "pulse_width", ppg_config.pulse_width))
        return false;
    if (!flash_write(3, "sample_avg", ppg_config.sample_avg))
        return false;
    if (!flash_write(4, "ir_led_pa", ppg_config.ir_led_pa))
        return false;
    if (!flash_write(5, "red_led_pa", ppg_config.red_led_pa))
        return false;
    if (!flash_write(6, "collection_mode", ppg_config.collection_mode))
        return false;

    return true;
}

bool ppg_configure() {
    // Configure 3.3V enable GPIO.
    LOG_INF("Configuring 3V3 enable GPIO...");
    en_3v3 = GPIO_DT_SPEC_GET(DT_NODELABEL(gpio_en_3v3), gpios);
    if (!device_is_ready(en_3v3.port)) {
        LOG_ERR("3v3 EN GPIO not ready!");
        return false;
    }
    gpio_pin_configure_dt(&en_3v3, GPIO_OUTPUT);
    gpio_pin_set_dt(&en_3v3, 0);

    LOG_INF("Configuring PPG device...");

    // Configure params.
    dev = DEVICE_DT_GET_ANY(maxim_max3010x);

    if (dev == NULL) {
        LOG_ERR("Could not get max3010x device\n");
        return false;
    }
    if (!device_is_ready(dev)) {
        LOG_ERR("max30101 device %s is not ready\n", dev->name);
        return false;
    }

    // Wrap class since the Zephyr driver sucks.
    if (!ppg.begin(dev)) {
        LOG_ERR("Could not begin PPG device...");
        return false;
    }

    // Read configuration from flash.
    if (!ppg_read_config())
        return false;
    ppg.setupSpO2(
        ppg_config.ir_led_pa, ppg_config.red_led_pa, ppg_config.sample_avg,
        ppg_config.sample_rate, ppg_config.pulse_width, ppg_config.adc_range);

    // Power-down mode.
    ppg_sleep();

    return true;
}

void ppg_sleep() {
    LOG_INF("Sleeping PPG device...");

    // Power-down mode.
    gpio_pin_set_dt(&en_3v3, 0);

    ppg.shutDown();
}

void ppg_wakeup() {
    LOG_INF("Waking PPG device...");

    // Power-up mode.
    gpio_pin_set_dt(&en_3v3, 1);
    ppg.wakeUp();
    k_sleep(K_MSEC(50));

    LOG_INF("  -> Clearing out sensor FIFO");
    ppg.clearFIFO();
}

uint32_t ppg_read_samples(
    uint32_t* const red_samples,
    uint32_t* const ir_samples,
    uint32_t sample_i,
    const uint32_t N) {
    if (!ppg.available())
        ppg.check();
    uint8_t available = ppg.available();

    int max_i = N - sample_i;
    if (max_i > available)
        max_i = available;
    for (int i = 0; i < max_i; ++i) {
        ir_samples[sample_i] = ppg.getFIFOIR();
        red_samples[sample_i] = ppg.getFIFORed();
        ppg.nextSample();

        ++sample_i;
    }
    return sample_i;
}

uint16_t ppg_startup_timeout_ms() {
    uint8_t startup_timeout =
        (ppg_config.collection_mode & CollectionMode_StartupTimeout_Mask) >> 4;
    return startup_timeout * CollectionMode_StartupTimeout_Scale * 1000;
}

uint16_t ppg_collection_period_ms() {
    uint8_t collection_period =
        ppg_config.collection_mode & CollectionMode_CollectionPeriod_Mask;
    return collection_period * CollectionMode_CollectionPeriod_Scale;
}
```

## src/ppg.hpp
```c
#pragma once

#include <stdint.h>

#include "MAX30101.hpp"

extern MAX30101 ppg;

struct PPGConfig {
        uint8_t adc_range;
        uint8_t sample_rate;
        uint8_t pulse_width;
        uint8_t sample_avg;
        uint8_t ir_led_pa;
        uint8_t red_led_pa;
        uint8_t collection_mode;
};
extern PPGConfig ppg_config;

bool ppg_read_config();
bool ppg_write_config();
bool ppg_configure();
void ppg_sleep();
void ppg_wakeup();
uint16_t ppg_startup_timeout_ms();
uint16_t ppg_collection_period_ms();

uint32_t ppg_read_samples(
    uint32_t* const red_samples,
    uint32_t* const ir_samples,
    uint32_t sample_i,
    const uint32_t N);
```
